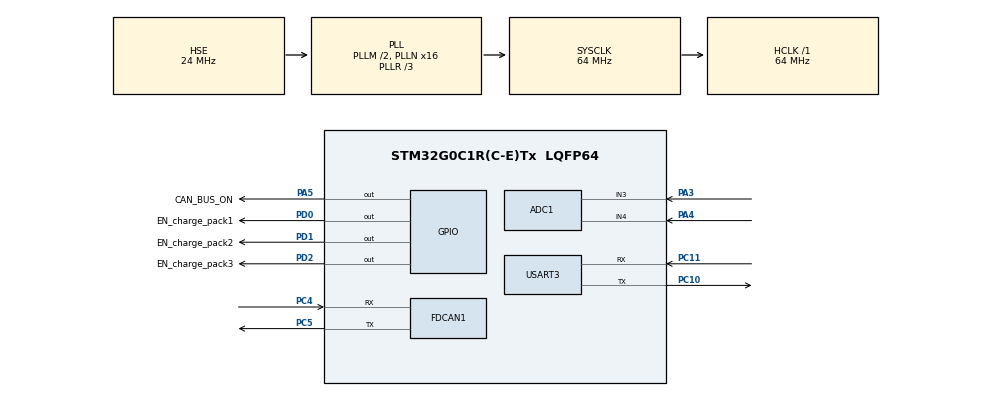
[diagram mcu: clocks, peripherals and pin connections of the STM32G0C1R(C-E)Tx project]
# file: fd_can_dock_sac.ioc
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ADC1.Channel-0\#ChannelRegularConversion=ADC_CHANNEL_3
ADC1.Channel-1\#ChannelRegularConversion=ADC_CHANNEL_4
ADC1.ContinuousConvMode=ENABLE
ADC1.DMAContinuousRequests=ENABLE
ADC1.NbrOfConversion=2
ADC1.NbrOfConversionFlag=1
ADC1.Rank-0\#ChannelRegularConversion=1
ADC1.Rank-1\#ChannelRegularConversion=2
ADC1.SamplingTime-0\#ChannelRegularConversion=ADC_SAMPLINGTIME_COMMON_1
ADC1.SamplingTime-1\#ChannelRegularConversion=ADC_SAMPLINGTIME_COMMON_2
ADC1.SamplingTimeCommon1=ADC_SAMPLETIME_160CYCLES_5
ADC1.SamplingTimeCommon2=ADC_SAMPLETIME_160CYCLES_5
ADC1.SelectedChannel=ADC_CHANNEL_3|ADC_CHANNEL_4
ADC1.master=1
Dma.ADC1.0.Direction=DMA_PERIPH_TO_MEMORY
Dma.ADC1.0.EventEnable=DISABLE
Dma.ADC1.0.Instance=DMA1_Channel1
Dma.ADC1.0.MemDataAlignment=DMA_MDATAALIGN_HALFWORD
Dma.ADC1.0.MemInc=DMA_MINC_ENABLE
Dma.ADC1.0.Mode=DMA_CIRCULAR
Dma.ADC1.0.PeriphDataAlignment=DMA_PDATAALIGN_HALFWORD
Dma.ADC1.0.PeriphInc=DMA_PINC_DISABLE
Dma.ADC1.0.Polarity=HAL_DMAMUX_REQ_GEN_RISING
Dma.ADC1.0.Priority=DMA_PRIORITY_LOW
Dma.ADC1.0.RequestNumber=1
Dma.ADC1.0.SignalID=NONE
Dma.ADC1.0.SyncEnable=DISABLE
Dma.ADC1.0.SyncPolarity=HAL_DMAMUX_SYNC_NO_EVENT
Dma.ADC1.0.SyncRequestNumber=1
Dma.ADC1.0.SyncSignalID=NONE
Dma.Request0=ADC1
FDCAN1.CalculateBaudRateNominal=1000000
FDCAN1.CalculateTimeBitNominal=1000
FDCAN1.CalculateTimeQuantumNominal=62.5
FDCAN1.ExtFiltersNbr=1
FDCAN1.NominalPrescaler=4
FDCAN1.NominalTimeSeg1=13
FDCAN1.StdFiltersNbr=1
Mcu.Family=STM32G0
Mcu.Name=STM32G0C1R(C-E)Tx
Mcu.Package=LQFP64
NVIC.DMA1_Channel1_IRQn=true\:0\:0\:false\:false\:true\:false\:true\:true
NVIC.TIM16_FDCAN_IT0_IRQn=true\:0\:0\:false\:false\:true\:true\:true\:true
NVIC.TIM3_TIM4_IRQn=true\:0\:0\:false\:false\:true\:true\:true\:true
NVIC.USART3_4_5_6_LPUART1_IRQn=true\:0\:0\:false\:false\:true\:true\:true\:true
PA13.Mode=Serial_Wire
PA13.Signal=SYS_SWDIO
PA14-BOOT0.Mode=Serial_Wire
PA14-BOOT0.Signal=SYS_SWCLK
PA3.Mode=IN3
PA3.Signal=ADC1_IN3
PA4.Mode=IN4
PA4.Signal=ADC1_IN4
PA5.GPIO_Label=CAN_BUS_ON
PA5.GPIO_PuPd=GPIO_PULLUP
PA5.PinState=GPIO_PIN_SET
PA5.Signal=GPIO_Output
PC10.Mode=Asynchronous
PC10.Signal=USART3_TX
PC11.Mode=Asynchronous
PC11.Signal=USART3_RX
PC4.GPIO_PuPd=GPIO_PULLUP
PC4.Mode=FDCAN_Activate
PC4.Signal=FDCAN1_RX
PC5.Mode=FDCAN_Activate
PC5.Signal=FDCAN1_TX
PD0.GPIO_Label=EN_charge_pack1
PD0.GPIO_PuPd=GPIO_PULLDOWN
PD0.Signal=GPIO_Output
PD1.GPIO_Label=EN_charge_pack2
PD1.GPIO_PuPd=GPIO_PULLDOWN
PD1.Signal=GPIO_Output
PD2.GPIO_Label=EN_charge_pack3
PD2.GPIO_PuPd=GPIO_PULLDOWN
PD2.Signal=GPIO_Output
PF0-OSC_IN\ (PF0).Mode=HSE-External-Oscillator
PF0-OSC_IN\ (PF0).Signal=RCC_OSC_IN
PF1-OSC_OUT\ (PF1).Mode=HSE-External-Oscillator
PF1-OSC_OUT\ (PF1).Signal=RCC_OSC_OUT
ProjectManager.HeapSize=0x200
ProjectManager.StackSize=0x400
ProjectManager.TargetToolchain=MDK-ARM V5.32
RCC.ADCFreq_Value=64000000
RCC.AHBFreq_Value=64000000
RCC.CortexFreq_Value=64000000
RCC.EXTERNAL_CLOCK_VALUE=48000
RCC.HCLKFreq_Value=64000000
RCC.HSE_VALUE=24000000
RCC.HSI48_VALUE=48000000
RCC.HSI_VALUE=16000000
RCC.LSE_VALUE=32768
RCC.PLLM=RCC_PLLM_DIV2
RCC.PLLN=16
RCC.PLLR=RCC_PLLR_DIV3
RCC.PLLSourceVirtual=RCC_PLLSOURCE_HSE
RCC.SYSCLKFreq_VALUE=64000000
RCC.SYSCLKSource=RCC_SYSCLKSOURCE_PLLCLK
RCC.USBFreq_Value=48000000
RCC.VCOOutputFreq_Value=192000000
TIM3.Period=7999
TIM3.Prescaler=799
USART3.VirtualMode-Asynchronous=VM_ASYNC
VP_SYS_VS_DBSignals.Mode=DisableDeadBatterySignals
VP_TIM3_VS_ClockSourceINT.Mode=Internal
board=custom

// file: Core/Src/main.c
/* USER CODE BEGIN Header */
/**
  ******************************************************************************
  * @file           : main.c
  * @brief          : Main program body
  ******************************************************************************
  * @attention
  *
  * Copyright (c) 2025 STMicroelectronics.
  * All rights reserved.
  *
  * This software is licensed under terms that can be found in the LICENSE file
  * in the root directory of this software component.
  * If no LICENSE file comes with this software, it is provided AS-IS.
  *
  ******************************************************************************
  */
/* USER CODE END Header */
#include "main.h"

/* USER CODE BEGIN Includes */
#include "canard.h"
#include "canard_internals.h"
#include "string.h"
#include "uavcan.protocol.NodeStatus.h"
#include "uavcan.protocol.GetNodeInfo_res.h"
#include <uavcan.protocol.debug.KeyValue.h>
#include "uavcan.protocol.SoftwareVersion.h"
#include "uavcan.protocol.HardwareVersion.h"
#include <uavcan.equipment.power.BatteryInfo.h>
#include "stdlib.h"
#include "stdio.h"
#include "stdbool.h"
#include "string.h"
/* USER CODE END Includes */

/* USER CODE BEGIN PD */
#define Kp 100.0f
#define Ki 50.0f
#define Kb 1.0f
/* USER CODE END PD */

ADC_HandleTypeDef hadc1;
DMA_HandleTypeDef hdma_adc1;

FDCAN_HandleTypeDef hfdcan1;

TIM_HandleTypeDef htim3;

UART_HandleTypeDef huart3;

/* USER CODE BEGIN PV */
uint8_t canard_memory_pool[1024];
CanardInstance canard;

uint8_t node_id = 42;

FDCAN_RxHeaderTypeDef rxHeader;
FDCAN_TxHeaderTypeDef txHeader;

uint32_t temp_sp;

volatile uint16_t adc_temp[2];
uint16_t adc_filtered = 0;
volatile float temp;
float sampleTime = 0.1f;
uint16_t charging_current;

char bt_rx_buffer[32];
uint8_t bt_rx_index = 0;
uint8_t bt_rx_data;

volatile uint32_t heartbeat_count[3] = {0};
float heartbeat_freq[3] = {0};
uint8_t node_map[3] = {11, 12, 13};

uint16_t debug = 0;
uint16_t debug1 = 0;
uint16_t debug2 = 0;
uint16_t count;

typedef struct {
    char name[32];
    float voltage;
    float current;
    uint8_t soc;
    float temp;
    uint8_t node_id;
    uint32_t last_update;
    uint8_t online;
} PackInfo_t;

PackInfo_t packs[3]; // node_id 11,12,13
PackInfo_t packs[3] = {
    {.node_id = 11}, // pack pin 1
    {.node_id = 12}, // pack pin 2
    {.node_id = 13}  // pack pin 3
};
/* USER CODE END PV */

void SystemClock_Config(void);
static void MX_GPIO_Init(void);
static void MX_DMA_Init(void);
static void MX_ADC1_Init(void);
static void MX_TIM3_Init(void);
static void MX_FDCAN1_Init(void);
static void MX_USART3_UART_Init(void);
/* USER CODE BEGIN PFP */

void HAL_FDCAN_RxFifo0Callback(FDCAN_HandleTypeDef *hfdcan, uint32_t filterIndex)
{
	uint8_t rxData[8];
	if (HAL_FDCAN_GetRxMessage(hfdcan, FDCAN_RX_FIFO0, &rxHeader, rxData) != HAL_OK)
			return;
	CanardCANFrame frame;
	frame.id = rxHeader.Identifier;
	if (rxHeader.IdType == FDCAN_EXTENDED_ID)
			frame.id |= (1UL << 31); // set extended bit
	frame.data_len = rxHeader.DataLength;
	if (frame.data_len > 8) frame.data_len = 8;

	memcpy(frame.data, rxData, frame.data_len);
	frame.iface_id = 0;

	canardHandleRxFrame(&canard, &frame, HAL_GetTick() * 1000ULL);
}

uint16_t lowpass_filter(uint16_t raw_value, uint16_t filter_value, uint8_t filter_alpha)
{
	uint32_t temp = (uint32_t)filter_value * filter_alpha + raw_value;
	return temp / (1 + filter_alpha);
}

float LM70_CalculateTemperature(uint16_t adc_value)
{
	float Vref = 3.297f;
	float v_tao_mV = (adc_value / 4095.0f) * Vref * 1000.0f;
	float a = -1.809628e-09f;
	float b = -3.325395e-06f;
	float c = -1.814103e-01f;
	float d = 2.055894e+02f;

	float temp_c = a * v_tao_mV * v_tao_mV * v_tao_mV
							 + b * v_tao_mV * v_tao_mV
							 + c * v_tao_mV
							 + d;

	return temp_c;
}

int PI_Temp2Current(float T_setpoint, float T_measured)
{
	static float err_prev = 0;
	static float ui_prev = 0;
	static float e_reset = 0;

	float err, up, ui, u_total, anti_windup;
	float u_limited;
	int output_mA;

	err = T_setpoint - T_measured;

	up = Kp * err;
	anti_windup = Ki * err + Kb * e_reset;
	ui = ui_prev + anti_windup * sampleTime;

	ui_prev = ui;
	err_prev = err;

	u_total = up + ui;

	if (u_total > 5000.0f)
		u_limited = 5000.0f;
	else if (u_total < 500.0f)
		u_limited = 500.0f;
	else
		u_limited = u_total;

	// Anti-windup
	e_reset = u_limited - u_total;

	output_mA = ((int)(u_limited + 25.0f)) / 50 * 50;

	return output_mA;
}

void HAL_TIM_PeriodElapsedCallback(TIM_HandleTypeDef *htim)
{
	if(htim->Instance == TIM3)
	{
		adc_filtered = lowpass_filter(adc_temp[0],adc_filtered,4);
		temp = LM70_CalculateTemperature(adc_filtered);
		charging_current = PI_Temp2Current(temp_sp, temp);
	}
}
/* USER CODE END PFP */

/* USER CODE BEGIN 0 */
bool should_accept(const CanardInstance* ins, uint64_t* out_sig, uint16_t data_type_id,
                   CanardTransferType transfer_type, uint8_t source_node_id) {
		debug =  data_type_id;
	  debug1 = transfer_type;
    if (data_type_id == UAVCAN_PROTOCOL_GETNODEINFO_RESPONSE_ID &&
        transfer_type == CanardTransferTypeResponse) {
        *out_sig = UAVCAN_PROTOCOL_GETNODEINFO_RESPONSE_SIGNATURE;
        return true;
    }
		else if(data_type_id == UAVCAN_PROTOCOL_NODESTATUS_ID &&
						transfer_type == CanardTransferTypeBroadcast) {
				*out_sig = UAVCAN_PROTOCOL_NODESTATUS_SIGNATURE;
				return true;
		}
		if (data_type_id == UAVCAN_EQUIPMENT_POWER_BATTERYINFO_ID &&
		transfer_type == CanardTransferTypeBroadcast)
    {
        *out_sig = UAVCAN_EQUIPMENT_POWER_BATTERYINFO_SIGNATURE;
        return true;
    }
    return false;
}

void on_reception(CanardInstance* ins, CanardRxTransfer* transfer)
{
	if (transfer->data_type_id == UAVCAN_PROTOCOL_GETNODEINFO_RESPONSE_ID &&
			transfer->transfer_type == CanardTransferTypeResponse)
	{
		struct uavcan_protocol_GetNodeInfoResponse resp;
		memset(&resp, 0, sizeof(resp));
		bool invalid = uavcan_protocol_GetNodeInfoResponse_decode(transfer, &resp);
		if (!invalid)
		{
			char name[81] = {0};
			memcpy(name, resp.name.data, resp.name.len);
			name[resp.name.len] = '\0';
			temp_sp = atoi(name);
			HAL_TIM_Base_Start_IT(&htim3);
			memset(name, 0, sizeof(name));
		}
	}
	if (transfer->data_type_id == UAVCAN_PROTOCOL_NODESTATUS_ID &&
	transfer->transfer_type == CanardTransferTypeBroadcast)
	{

		for(int i=0; i<3; i++)
		{
			if(transfer->source_node_id == node_map[i])
			{
				heartbeat_count[i]++;
				break;
			}
		}
	}
	if (transfer->data_type_id == UAVCAN_EQUIPMENT_POWER_BATTERYINFO_ID &&
	transfer->transfer_type == CanardTransferTypeBroadcast)
	{
		count++;
		struct uavcan_equipment_power_BatteryInfo msg;
		memset(&msg, 0, sizeof(msg));
		if (!uavcan_equipment_power_BatteryInfo_decode(transfer, &msg))
		{
			for(int i=0; i<3; i++)
			{
				debug2 = transfer->source_node_id;
				if (packs[i].node_id == transfer->source_node_id)
				{
					memcpy(packs[i].name, msg.model_name.data, msg.model_name.len);
					packs[i].name[msg.model_name.len] = 0;
					packs[i].voltage = msg.voltage;
					packs[i].current = msg.current;
					packs[i].soc = msg.state_of_charge_pct;
					packs[i].temp = msg.temperature;
					packs[i].last_update = HAL_GetTick();  // cap nhat thoi diem
					packs[i].online = 1;                   // dang ket noi
				}
			}
		}
	}
}

void request_node_info(uint8_t dest_node_id, uint8_t* tid)
{
    uint8_t buffer[1] = {0};
    canardRequestOrRespond(
        &canard,
        dest_node_id,
        UAVCAN_PROTOCOL_GETNODEINFO_RESPONSE_SIGNATURE,
        UAVCAN_PROTOCOL_GETNODEINFO_RESPONSE_ID,
        tid,
        CANARD_TRANSFER_PRIORITY_LOW,
        CanardRequest,
        buffer,
        0
    );
}

void tx_frame(void)
{
    const CanardCANFrame* txf;
    while ((txf = canardPeekTxQueue(&canard)) != NULL)
    {

        if ((hfdcan1.Instance->TXFQS & FDCAN_TXFQS_TFQF) == 0) // TX FIFO not full
        {
            txHeader.Identifier = txf->id & 0x1FFFFFFF;
            txHeader.IdType = FDCAN_EXTENDED_ID;
            txHeader.TxFrameType = FDCAN_DATA_FRAME;
            txHeader.DataLength = txf->data_len;
            txHeader.FDFormat = FDCAN_CLASSIC_CAN;
            txHeader.BitRateSwitch = FDCAN_BRS_OFF;
            txHeader.TxEventFifoControl = FDCAN_NO_TX_EVENTS;
            txHeader.MessageMarker = 0;

            if (HAL_FDCAN_AddMessageToTxFifoQ(&hfdcan1, &txHeader, (uint8_t*)txf->data) == HAL_OK)
            {
                canardPopTxQueue(&canard);
            }
            else
            {
                break;
            }
        }
        else
        {
            break;
        }
    }
    HAL_Delay(1);
}

void config_fdcan_filter_all(void)
{
    FDCAN_FilterTypeDef sFilterConfig;

    // Nh?n t?t c? Standard ID
    sFilterConfig.IdType = FDCAN_STANDARD_ID;
    sFilterConfig.FilterIndex = 0;
    sFilterConfig.FilterType = FDCAN_FILTER_MASK;
    sFilterConfig.FilterConfig = FDCAN_FILTER_TO_RXFIFO0;
    sFilterConfig.FilterID1 = 0x000;
    sFilterConfig.FilterID2 = 0x000;
    if (HAL_FDCAN_ConfigFilter(&hfdcan1, &sFilterConfig) != HAL_OK)
    {
        Error_Handler();
    }

    // Nh?n t?t c? Extended ID
    sFilterConfig.IdType = FDCAN_EXTENDED_ID;
    sFilterConfig.FilterIndex = 1;
    sFilterConfig.FilterType = FDCAN_FILTER_MASK;
    sFilterConfig.FilterConfig = FDCAN_FILTER_TO_RXFIFO0;
    sFilterConfig.FilterID1 = 0x00000000;
    sFilterConfig.FilterID2 = 0x00000000;
    if (HAL_FDCAN_ConfigFilter(&hfdcan1, &sFilterConfig) != HAL_OK)
    {
        Error_Handler();
    }
}

void parse_bluetooth_cmd(char *cmd)
{
		static uint8_t tid1 = 0, tid2 = 0, tid3 = 0;
		static uint32_t last_send_node_1 = 0;
		static uint32_t last_send_node_2 = 0;
		static uint32_t last_send_node_3 = 0;
    if(strncmp(cmd, "NODE1", 5) == 0)
    {
			request_node_info(11,&tid1);
		}
    else if(strncmp(cmd, "NODE2", 5) == 0)
    {
			request_node_info(12,&tid2);
    }
		else if(strncmp(cmd, "NODE3", 5) == 0)
    {
			request_node_info(13,&tid3);
    }
}

void HAL_UART_RxCpltCallback(UART_HandleTypeDef *huart)
{
	if(huart->Instance == USART3)
	{
		if(bt_rx_data != '\n' && bt_rx_index < sizeof(bt_rx_buffer) - 1)
		{
			bt_rx_buffer[bt_rx_index++] = bt_rx_data;
		}
		else
		{
			bt_rx_buffer[bt_rx_index] = 0;
			bt_rx_index = 0;
			parse_bluetooth_cmd(bt_rx_buffer);
		}
		HAL_UART_Receive_IT(&huart3, &bt_rx_data, 1);
	}
}

void check_pack_online(void)
{
	uint32_t now = HAL_GetTick();
	for (int i = 0; i < 3; i++)
	{
		if (packs[i].online && (now - packs[i].last_update > 500))
		{
			packs[i].online = 0;
			packs[i].soc = 0; // reset de loai khoi danh sach sach
		}
	}
}
int select_pack_for_charge(void)
{
	int selected = -1;
	uint8_t max_soc = 0;
	for (int i = 0; i < 3; i++)
	{
		if (packs[i].online && packs[i].soc < 100 && packs[i].soc > max_soc)
		{
			max_soc = packs[i].soc;
			selected = i;
		}
	}
	return selected;
}

void set_charging_pack(int index)
{
	HAL_GPIO_WritePin(GPIOD, EN_charge_pack1_Pin, (index == 0) ? GPIO_PIN_SET : GPIO_PIN_RESET);
	HAL_GPIO_WritePin(GPIOD, EN_charge_pack2_Pin, (index == 1) ? GPIO_PIN_SET : GPIO_PIN_RESET);
	HAL_GPIO_WritePin(GPIOD, EN_charge_pack3_Pin, (index == 2) ? GPIO_PIN_SET : GPIO_PIN_RESET);
}
/* USER CODE END 0 */

int main(void)
{

  /* MCU Configuration--------------------------------------------------------*/

  /* Reset of all peripherals, Initializes the Flash interface and the Systick. */
  HAL_Init();

  /* Configure the system clock */
  SystemClock_Config();

  /* Initialize all configured peripherals */
  MX_GPIO_Init();
  MX_DMA_Init();
  MX_ADC1_Init();
  MX_TIM3_Init();
  MX_FDCAN1_Init();
  MX_USART3_UART_Init();
  /* USER CODE BEGIN 2 */
	HAL_FDCAN_Start(&hfdcan1);
	config_fdcan_filter_all();
	HAL_FDCAN_ActivateNotification(&hfdcan1, FDCAN_IT_RX_FIFO0_NEW_MESSAGE, 0);
	canardInit(&canard,
				 canard_memory_pool,
				 sizeof(canard_memory_pool),
				 on_reception,
				 should_accept,
				 NULL);
	canardSetLocalNodeID(&canard, node_id);
	HAL_ADCEx_Calibration_Start(&hadc1);
	HAL_ADC_Start_DMA(&hadc1, (uint32_t*)adc_temp, 2);
	HAL_UART_Receive_IT(&huart3, &bt_rx_data, 1);
  /* USER CODE END 2 */

  /* Infinite loop */
  /* USER CODE BEGIN WHILE */
  while (1)
  {
		static uint32_t last_freq_update = 0;
		tx_frame();
    if (HAL_GetTick() - last_freq_update >= 1000)
    {
			for(int i=0; i<3; i++) {
					heartbeat_freq[i] = (float)heartbeat_count[i];
					heartbeat_count[i] = 0;
			}
			last_freq_update = HAL_GetTick();
    }
		check_pack_online();

		int charging_index = select_pack_for_charge();
		set_charging_pack(charging_index);
    /* USER CODE END WHILE */

  }
}

void SystemClock_Config(void)
{
  RCC_OscInitTypeDef RCC_OscInitStruct = {0};
  RCC_ClkInitTypeDef RCC_ClkInitStruct = {0};

  /** Configure the main internal regulator output voltage
  */
  HAL_PWREx_ControlVoltageScaling(PWR_REGULATOR_VOLTAGE_SCALE1);

  /** Initializes the RCC Oscillators according to the specified parameters
  * in the RCC_OscInitTypeDef structure.
  */
  RCC_OscInitStruct.OscillatorType = RCC_OSCILLATORTYPE_HSE;
  RCC_OscInitStruct.HSEState = RCC_HSE_ON;
  RCC_OscInitStruct.PLL.PLLState = RCC_PLL_ON;
  RCC_OscInitStruct.PLL.PLLSource = RCC_PLLSOURCE_HSE;
  RCC_OscInitStruct.PLL.PLLM = RCC_PLLM_DIV2;
  RCC_OscInitStruct.PLL.PLLN = 16;
  RCC_OscInitStruct.PLL.PLLP = RCC_PLLP_DIV2;
  RCC_OscInitStruct.PLL.PLLQ = RCC_PLLQ_DIV2;
  RCC_OscInitStruct.PLL.PLLR = RCC_PLLR_DIV3;
  if (HAL_RCC_OscConfig(&RCC_OscInitStruct) != HAL_OK)
  {
    Error_Handler();
  }

  /** Initializes the CPU, AHB and APB buses clocks
  */
  RCC_ClkInitStruct.ClockType = RCC_CLOCKTYPE_HCLK|RCC_CLOCKTYPE_SYSCLK
                              |RCC_CLOCKTYPE_PCLK1;
  RCC_ClkInitStruct.SYSCLKSource = RCC_SYSCLKSOURCE_PLLCLK;
  RCC_ClkInitStruct.AHBCLKDivider = RCC_SYSCLK_DIV1;
  RCC_ClkInitStruct.APB1CLKDivider = RCC_HCLK_DIV1;

  if (HAL_RCC_ClockConfig(&RCC_ClkInitStruct, FLASH_LATENCY_2) != HAL_OK)
  {
    Error_Handler();
  }
}

static void MX_ADC1_Init(void)
{

  ADC_ChannelConfTypeDef sConfig = {0};

  /** Configure the global features of the ADC (Clock, Resolution, Data Alignment and number of conversion)
  */
  hadc1.Instance = ADC1;
  hadc1.Init.ClockPrescaler = ADC_CLOCK_SYNC_PCLK_DIV2;
  hadc1.Init.Resolution = ADC_RESOLUTION_12B;
  hadc1.Init.DataAlign = ADC_DATAALIGN_RIGHT;
  hadc1.Init.ScanConvMode = ADC_SCAN_ENABLE;
  hadc1.Init.EOCSelection = ADC_EOC_SINGLE_CONV;
  hadc1.Init.LowPowerAutoWait = DISABLE;
  hadc1.Init.LowPowerAutoPowerOff = DISABLE;
  hadc1.Init.ContinuousConvMode = ENABLE;
  hadc1.Init.NbrOfConversion = 2;
  hadc1.Init.ExternalTrigConv = ADC_SOFTWARE_START;
  hadc1.Init.ExternalTrigConvEdge = ADC_EXTERNALTRIGCONVEDGE_NONE;
  hadc1.Init.DMAContinuousRequests = ENABLE;
  hadc1.Init.Overrun = ADC_OVR_DATA_PRESERVED;
  hadc1.Init.SamplingTimeCommon1 = ADC_SAMPLETIME_160CYCLES_5;
  hadc1.Init.SamplingTimeCommon2 = ADC_SAMPLETIME_160CYCLES_5;
  hadc1.Init.OversamplingMode = DISABLE;
  hadc1.Init.TriggerFrequencyMode = ADC_TRIGGER_FREQ_HIGH;
  if (HAL_ADC_Init(&hadc1) != HAL_OK)
  {
    Error_Handler();
  }

  /** Configure Regular Channel
  */
  sConfig.Channel = ADC_CHANNEL_3;
  sConfig.Rank = ADC_REGULAR_RANK_1;
  sConfig.SamplingTime = ADC_SAMPLINGTIME_COMMON_1;
  if (HAL_ADC_ConfigChannel(&hadc1, &sConfig) != HAL_OK)
  {
    Error_Handler();
  }

  /** Configure Regular Channel
  */
  sConfig.Channel = ADC_CHANNEL_4;
  sConfig.Rank = ADC_REGULAR_RANK_2;
  sConfig.SamplingTime = ADC_SAMPLINGTIME_COMMON_2;
  if (HAL_ADC_ConfigChannel(&hadc1, &sConfig) != HAL_OK)
  {
    Error_Handler();
  }

}

static void MX_FDCAN1_Init(void)
{

  hfdcan1.Instance = FDCAN1;
  hfdcan1.Init.ClockDivider = FDCAN_CLOCK_DIV1;
  hfdcan1.Init.FrameFormat = FDCAN_FRAME_CLASSIC;
  hfdcan1.Init.Mode = FDCAN_MODE_NORMAL;
  hfdcan1.Init.AutoRetransmission = DISABLE;
  hfdcan1.Init.TransmitPause = DISABLE;
  hfdcan1.Init.ProtocolException = DISABLE;
  hfdcan1.Init.NominalPrescaler = 4;
  hfdcan1.Init.NominalSyncJumpWidth = 1;
  hfdcan1.Init.NominalTimeSeg1 = 13;
  hfdcan1.Init.NominalTimeSeg2 = 2;
  hfdcan1.Init.DataPrescaler = 1;
  hfdcan1.Init.DataSyncJumpWidth = 1;
  hfdcan1.Init.DataTimeSeg1 = 1;
  hfdcan1.Init.DataTimeSeg2 = 1;
  hfdcan1.Init.StdFiltersNbr = 1;
  hfdcan1.Init.ExtFiltersNbr = 1;
  hfdcan1.Init.TxFifoQueueMode = FDCAN_TX_FIFO_OPERATION;
  if (HAL_FDCAN_Init(&hfdcan1) != HAL_OK)
  {
    Error_Handler();
  }

}

static void MX_TIM3_Init(void)
{

  TIM_ClockConfigTypeDef sClockSourceConfig = {0};
  TIM_MasterConfigTypeDef sMasterConfig = {0};

  htim3.Instance = TIM3;
  htim3.Init.Prescaler = 799;
  htim3.Init.CounterMode = TIM_COUNTERMODE_UP;
  htim3.Init.Period = 7999;
  htim3.Init.ClockDivision = TIM_CLOCKDIVISION_DIV1;
  htim3.Init.AutoReloadPreload = TIM_AUTORELOAD_PRELOAD_DISABLE;
  if (HAL_TIM_Base_Init(&htim3) != HAL_OK)
  {
    Error_Handler();
  }
  sClockSourceConfig.ClockSource = TIM_CLOCKSOURCE_INTERNAL;
  if (HAL_TIM_ConfigClockSource(&htim3, &sClockSourceConfig) != HAL_OK)
  {
    Error_Handler();
  }
  sMasterConfig.MasterOutputTrigger = TIM_TRGO_RESET;
  sMasterConfig.MasterSlaveMode = TIM_MASTERSLAVEMODE_DISABLE;
  if (HAL_TIMEx_MasterConfigSynchronization(&htim3, &sMasterConfig) != HAL_OK)
  {
    Error_Handler();
  }

}

static void MX_USART3_UART_Init(void)
{

  huart3.Instance = USART3;
  huart3.Init.BaudRate = 115200;
  huart3.Init.WordLength = UART_WORDLENGTH_8B;
  huart3.Init.StopBits = UART_STOPBITS_1;
  huart3.Init.Parity = UART_PARITY_NONE;
  huart3.Init.Mode = UART_MODE_TX_RX;
  huart3.Init.HwFlowCtl = UART_HWCONTROL_NONE;
  huart3.Init.OverSampling = UART_OVERSAMPLING_16;
  huart3.Init.OneBitSampling = UART_ONE_BIT_SAMPLE_DISABLE;
  huart3.Init.ClockPrescaler = UART_PRESCALER_DIV1;
  huart3.AdvancedInit.AdvFeatureInit = UART_ADVFEATURE_NO_INIT;
  if (HAL_UART_Init(&huart3) != HAL_OK)
  {
    Error_Handler();
  }
  if (HAL_UARTEx_SetTxFifoThreshold(&huart3, UART_TXFIFO_THRESHOLD_1_8) != HAL_OK)
  {
    Error_Handler();
  }
  if (HAL_UARTEx_SetRxFifoThreshold(&huart3, UART_RXFIFO_THRESHOLD_1_8) != HAL_OK)
  {
    Error_Handler();
  }
  if (HAL_UARTEx_DisableFifoMode(&huart3) != HAL_OK)
  {
    Error_Handler();
  }

}

static void MX_DMA_Init(void)
{

  /* DMA controller clock enable */
  __HAL_RCC_DMA1_CLK_ENABLE();

  /* DMA interrupt init */
  /* DMA1_Channel1_IRQn interrupt configuration */
  HAL_NVIC_SetPriority(DMA1_Channel1_IRQn, 0, 0);
  HAL_NVIC_EnableIRQ(DMA1_Channel1_IRQn);

}

static void MX_GPIO_Init(void)
{
  GPIO_InitTypeDef GPIO_InitStruct = {0};

  /* GPIO Ports Clock Enable */
  __HAL_RCC_GPIOC_CLK_ENABLE();
  __HAL_RCC_GPIOF_CLK_ENABLE();
  __HAL_RCC_GPIOA_CLK_ENABLE();
  __HAL_RCC_GPIOD_CLK_ENABLE();

  /*Configure GPIO pin Output Level */
  HAL_GPIO_WritePin(CAN_BUS_ON_GPIO_Port, CAN_BUS_ON_Pin, GPIO_PIN_SET);

  /*Configure GPIO pin Output Level */
  HAL_GPIO_WritePin(GPIOD, EN_charge_pack1_Pin|EN_charge_pack2_Pin|EN_charge_pack3_Pin, GPIO_PIN_RESET);

  /*Configure GPIO pin : CAN_BUS_ON_Pin */
  GPIO_InitStruct.Pin = CAN_BUS_ON_Pin;
  GPIO_InitStruct.Mode = GPIO_MODE_OUTPUT_PP;
  GPIO_InitStruct.Pull = GPIO_PULLUP;
  GPIO_InitStruct.Speed = GPIO_SPEED_FREQ_LOW;
  HAL_GPIO_Init(CAN_BUS_ON_GPIO_Port, &GPIO_InitStruct);

  /*Configure GPIO pins : EN_charge_pack1_Pin EN_charge_pack2_Pin EN_charge_pack3_Pin */
  GPIO_InitStruct.Pin = EN_charge_pack1_Pin|EN_charge_pack2_Pin|EN_charge_pack3_Pin;
  GPIO_InitStruct.Mode = GPIO_MODE_OUTPUT_PP;
  GPIO_InitStruct.Pull = GPIO_PULLDOWN;
  GPIO_InitStruct.Speed = GPIO_SPEED_FREQ_LOW;
  HAL_GPIO_Init(GPIOD, &GPIO_InitStruct);

}

void Error_Handler(void)
{
  __disable_irq();
  while (1)
  {
  }
}
